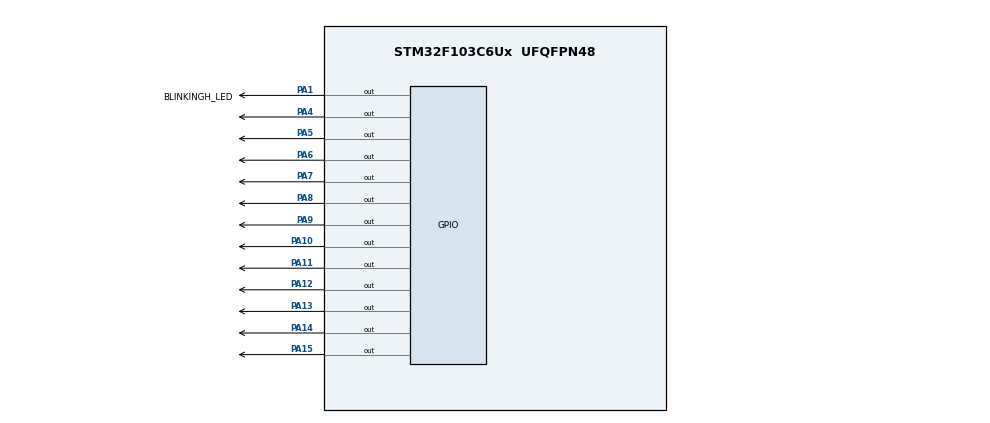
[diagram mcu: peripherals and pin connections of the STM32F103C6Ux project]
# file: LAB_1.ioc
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Mcu.Family=STM32F1
Mcu.Name=STM32F103C6Ux
Mcu.Package=UFQFPN48
NVIC.PriorityGroup=NVIC_PRIORITYGROUP_4
PA1.GPIO_Label=BLINKINGH_LED
PA1.Signal=GPIO_Output
PA10.Signal=GPIO_Output
PA11.Signal=GPIO_Output
PA12.Signal=GPIO_Output
PA13.Signal=GPIO_Output
PA14.Signal=GPIO_Output
PA15.Signal=GPIO_Output
PA4.Signal=GPIO_Output
PA5.Signal=GPIO_Output
PA6.Signal=GPIO_Output
PA7.Signal=GPIO_Output
PA8.Signal=GPIO_Output
PA9.Signal=GPIO_Output
ProjectManager.HeapSize=0x200
ProjectManager.StackSize=0x400
ProjectManager.TargetToolchain=STM32CubeIDE
RCC.APB1Freq_Value=8000000
RCC.APB2Freq_Value=8000000
VP_SYS_VS_ND.Mode=No_Debug
board=custom

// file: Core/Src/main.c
/* USER CODE BEGIN Header */
/**
  ******************************************************************************
  * @file           : main.c
  * @brief          : Main program body
  ******************************************************************************
  * @attention
  *
  * <h2><center>&copy; Copyright (c) 2026 STMicroelectronics.
  * All rights reserved.</center></h2>
  *
  * This software component is licensed by ST under BSD 3-Clause license,
  * the "License"; You may not use this file except in compliance with the
  * License. You may obtain a copy of the License at:
  *                        opensource.org/licenses/BSD-3-Clause
  *
  ******************************************************************************
  */
/* USER CODE END Header */
#include "main.h"

/* USER CODE BEGIN PV */
uint8_t pa1_state = 0;

int hour = 2;
int minute = 58;
int second = 30;

int prev_hour_led   = -1;
int prev_minute_led = -1;
int prev_second_led = -1;

const uint16_t LED_PINS[12] = {
    GPIO_PIN_4,  GPIO_PIN_5,  GPIO_PIN_6,  GPIO_PIN_7, GPIO_PIN_8,  GPIO_PIN_9,  GPIO_PIN_10, GPIO_PIN_11, GPIO_PIN_12, GPIO_PIN_13, GPIO_PIN_14, GPIO_PIN_15
};
/* USER CODE END PV */

void SystemClock_Config(void);
static void MX_GPIO_Init(void);

/* USER CODE BEGIN 0 */
void clearAllClock()
{
    HAL_GPIO_WritePin(GPIOA,
                      GPIO_PIN_4  | GPIO_PIN_5  | GPIO_PIN_6  | GPIO_PIN_7  |
                      GPIO_PIN_8  | GPIO_PIN_9  | GPIO_PIN_10 | GPIO_PIN_11 |
                      GPIO_PIN_12 | GPIO_PIN_13 | GPIO_PIN_14 | GPIO_PIN_15,
                      GPIO_PIN_SET);
}

void setNumberOnClock(int num)
{
    if (num < 0 || num > 11) return;
    HAL_GPIO_WritePin(GPIOA, (uint16_t)(1 << (num + 4)), GPIO_PIN_RESET);
}

void clearNumberOnClock(int num)
{
    if (num < 0 || num > 11) return;
    HAL_GPIO_WritePin(GPIOA, (uint16_t)(1 << (num + 4)), GPIO_PIN_SET);
}

void displayClock(int h, int m, int s)
{
    int curr_hour_led   = h % 12;
    int curr_minute_led = (m / 5) % 12;
    int curr_second_led = (s / 5) % 12;

    if (prev_second_led != -1 && prev_second_led != curr_second_led &&
        prev_second_led != curr_minute_led && prev_second_led != curr_hour_led)
    {
        clearNumberOnClock(prev_second_led);
    }

    if (prev_minute_led != -1 && prev_minute_led != curr_minute_led &&
        prev_minute_led != curr_second_led && prev_minute_led != curr_hour_led)
    {
        clearNumberOnClock(prev_minute_led);
    }

    if (prev_hour_led != -1 && prev_hour_led != curr_hour_led &&
        prev_hour_led != curr_second_led && prev_hour_led != curr_minute_led)
    {
        clearNumberOnClock(prev_hour_led);
    }

    setNumberOnClock(curr_second_led);
    setNumberOnClock(curr_minute_led);
    setNumberOnClock(curr_hour_led);

    prev_second_led = curr_second_led;
    prev_minute_led = curr_minute_led;
    prev_hour_led   = curr_hour_led;
}
/* USER CODE END 0 */

int main(void)
{

  /* MCU Configuration--------------------------------------------------------*/

  /* Reset of all peripherals, Initializes the Flash interface and the Systick. */
  HAL_Init();

  /* Configure the system clock */
  SystemClock_Config();

  /* Initialize all configured peripherals */
  MX_GPIO_Init();
  /* USER CODE BEGIN 2 */

  clearAllClock();

  /* USER CODE END 2 */

  /* Infinite loop */
  /* USER CODE BEGIN WHILE */
  while (1)
  {
	      displayClock(hour, minute, second);

	      if (pa1_state == 0)
	      {
	        HAL_GPIO_WritePin(GPIOA, GPIO_PIN_1, GPIO_PIN_RESET);
	        pa1_state = 1;
	      }
	      else
	      {
	        HAL_GPIO_WritePin(GPIOA, GPIO_PIN_1, GPIO_PIN_SET);
	        pa1_state = 0;
	      }

	      HAL_Delay(200);
	      second++;
	      if (second >= 60)
	      {
	        second = 0;
	        minute++;
	        if (minute >= 60)
	        {
	          minute = 0;
	          hour++;
	          if (hour >= 24)
	          {
	            hour = 0;
	          }
	        }
	      }
    /* USER CODE END WHILE */

  }
}

void SystemClock_Config(void)
{
  RCC_OscInitTypeDef RCC_OscInitStruct = {0};
  RCC_ClkInitTypeDef RCC_ClkInitStruct = {0};

  /** Initializes the RCC Oscillators according to the specified parameters
  * in the RCC_OscInitTypeDef structure.
  */
  RCC_OscInitStruct.OscillatorType = RCC_OSCILLATORTYPE_HSI;
  RCC_OscInitStruct.HSIState = RCC_HSI_ON;
  RCC_OscInitStruct.HSICalibrationValue = RCC_HSICALIBRATION_DEFAULT;
  RCC_OscInitStruct.PLL.PLLState = RCC_PLL_NONE;
  if (HAL_RCC_OscConfig(&RCC_OscInitStruct) != HAL_OK)
  {
    Error_Handler();
  }
  /** Initializes the CPU, AHB and APB buses clocks
  */
  RCC_ClkInitStruct.ClockType = RCC_CLOCKTYPE_HCLK|RCC_CLOCKTYPE_SYSCLK
                              |RCC_CLOCKTYPE_PCLK1|RCC_CLOCKTYPE_PCLK2;
  RCC_ClkInitStruct.SYSCLKSource = RCC_SYSCLKSOURCE_HSI;
  RCC_ClkInitStruct.AHBCLKDivider = RCC_SYSCLK_DIV1;
  RCC_ClkInitStruct.APB1CLKDivider = RCC_HCLK_DIV1;
  RCC_ClkInitStruct.APB2CLKDivider = RCC_HCLK_DIV1;

  if (HAL_RCC_ClockConfig(&RCC_ClkInitStruct, FLASH_LATENCY_0) != HAL_OK)
  {
    Error_Handler();
  }
}

static void MX_GPIO_Init(void)
{
  GPIO_InitTypeDef GPIO_InitStruct = {0};

  /* GPIO Ports Clock Enable */
  __HAL_RCC_GPIOA_CLK_ENABLE();

  /*Configure GPIO pin Output Level */
  HAL_GPIO_WritePin(GPIOA, BLINKINGH_LED_Pin|GPIO_PIN_4|GPIO_PIN_5|GPIO_PIN_6
                          |GPIO_PIN_7|GPIO_PIN_8|GPIO_PIN_9|GPIO_PIN_10
                          |GPIO_PIN_11|GPIO_PIN_12|GPIO_PIN_13|GPIO_PIN_14
                          |GPIO_PIN_15, GPIO_PIN_SET);

  /*Configure GPIO pins : BLINKINGH_LED_Pin PA4 PA5 PA6
                           PA7 PA8 PA9 PA10
                           PA11 PA12 PA13 PA14
                           PA15 */
  GPIO_InitStruct.Pin = BLINKINGH_LED_Pin|GPIO_PIN_4|GPIO_PIN_5|GPIO_PIN_6
                          |GPIO_PIN_7|GPIO_PIN_8|GPIO_PIN_9|GPIO_PIN_10
                          |GPIO_PIN_11|GPIO_PIN_12|GPIO_PIN_13|GPIO_PIN_14
                          |GPIO_PIN_15;
  GPIO_InitStruct.Mode = GPIO_MODE_OUTPUT_PP;
  GPIO_InitStruct.Pull = GPIO_NOPULL;
  GPIO_InitStruct.Speed = GPIO_SPEED_FREQ_LOW;
  HAL_GPIO_Init(GPIOA, &GPIO_InitStruct);

}

void Error_Handler(void)
{
  __disable_irq();
  while (1)
  {
  }
}

/************************ (C) COPYRIGHT STMicroelectronics *****END OF FILE****/
